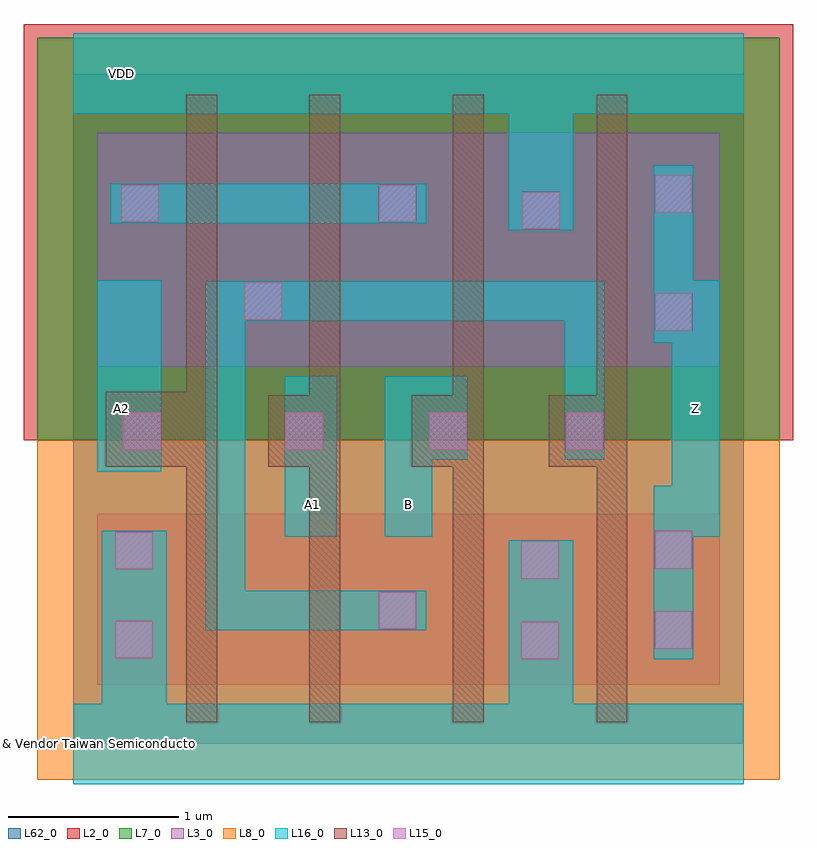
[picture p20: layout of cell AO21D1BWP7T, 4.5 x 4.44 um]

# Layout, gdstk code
import gdstk
lib = gdstk.Library(unit=1e-6, precision=1e-09)
def R(c, l, rs):  # rectangles x0, y0, x1, y1
    for r in rs: c.add(gdstk.rectangle(r[:2], r[2:], *l))
def P(c, l, *ps):  # polygons
    for p in ps: c.add(gdstk.Polygon(p, *l))
L2_0 = (2, 0)
L3_0 = (3, 0)
L7_0 = (7, 0)
L8_0 = (8, 0)
L13_0 = (13, 0)
L15_0 = (15, 0)
L16_0 = (16, 0)
L62_0 = (62, 0)

ao21d1bwp7t = lib.new_cell('AO21D1BWP7T')
R(ao21d1bwp7t, L2_0, [(-0.29,1.775,4.21,4.21)])
R(ao21d1bwp7t, L3_0, [(0.14,0.345,3.78,1.345), (0.14,2.205,3.78,3.575)])
R(ao21d1bwp7t, L7_0, [(-0.21,1.775,4.13,4.13)])
R(ao21d1bwp7t, L8_0, [(-0.21,-0.21,4.13,1.775)])
P(ao21d1bwp7t, L13_0, [(1.38,0.125),(1.38,1.62),(1.14,1.62),(1.14,2.04),(1.38,2.04),(1.38,3.795),(1.56,3.795),(1.56,0.125)],
  [(0.66,0.125),(0.66,1.62),(0.19,1.62),(0.19,2.06),(0.66,2.06),(0.66,3.795),(0.84,3.795),(0.84,0.125)],
  [(3.06,0.125),(3.06,1.62),(2.78,1.62),(2.78,2.04),(3.06,2.04),(3.06,3.795),(3.24,3.795),(3.24,0.125)],
  [(2.22,0.125),(2.22,1.62),(1.98,1.62),(1.98,2.04),(2.22,2.04),(2.22,3.795),(2.4,3.795),(2.4,0.125)])
R(ao21d1bwp7t, L15_0, [(2.62,0.495,2.84,0.715), (0.245,0.5,0.465,0.72), (3.4,0.555,3.62,0.775), (1.785,0.67,2.005,0.89), (2.62,0.965,2.84,1.185), (0.245,1.02,0.465,1.24), (3.4,1.025,3.62,1.245), (0.29,1.72,0.51,1.94), (1.24,1.72,1.46,1.94), (2.08,1.72,2.3,1.94), (2.88,1.72,3.1,1.94), (3.4,2.415,3.62,2.635), (1,2.48,1.22,2.7), (2.625,3.01,2.845,3.23), (0.28,3.05,0.5,3.27), (1.785,3.05,2.005,3.27), (3.4,3.105,3.62,3.325)])
R(ao21d1bwp7t, L16_0, [(1.235,1.21,1.54,2.15), (0.14,1.59,0.515,2.71), (0.22,3.045,2.065,3.275)])
P(ao21d1bwp7t, L16_0, [(0,-0.235),(0,0.235),(0.165,0.235),(0.165,1.245),(0.545,1.245),(0.545,0.235),(2.545,0.235),(2.545,1.19),(2.925,1.19),(2.925,0.235),(3.92,0.235),(3.92,-0.235)],
  [(2.545,3.005),(2.545,3.685),(0,3.685),(0,4.155),(3.92,4.155),(3.92,3.685),(2.925,3.685),(2.925,3.005)],
  [(3.395,0.495),(3.395,1.51),(3.5,1.51),(3.5,2.345),(3.395,2.345),(3.395,3.385),(3.625,3.385),(3.625,2.71),(3.78,2.71),(3.78,1.21),(3.625,1.21),(3.625,0.495)],
  [(0.775,0.665),(0.775,2.705),(3.105,2.705),(3.105,1.66),(2.875,1.66),(2.875,2.475),(1.005,2.475),(1.005,0.895),(2.065,0.895),(2.065,0.665)],
  [(1.82,1.21),(1.82,2.15),(2.305,2.15),(2.305,1.66),(2.1,1.66),(2.1,1.21)])
R(ao21d1bwp7t, L62_0, [(0,0,3.92,3.92)])
ao21d1bwp7t.add(gdstk.Label('& Vendor Taiwan Semiconductor Manufacturing Corp.', (0,0), layer=63, texttype=63))
ao21d1bwp7t.add(gdstk.Label('& Product tcb018gbwp7t', (0,0), layer=63, texttype=63))
ao21d1bwp7t.add(gdstk.Label('& Version 270a', (0,0), layer=63, texttype=63))
ao21d1bwp7t.add(gdstk.Label('& Metric 15.366', (0,0), layer=63, texttype=63))
ao21d1bwp7t.add(gdstk.Label('& Distributor TSMC', (0,0), layer=63, texttype=63))
ao21d1bwp7t.add(gdstk.Label('& SerialNumber 000000', (0,0), layer=63, texttype=63))
ao21d1bwp7t.add(gdstk.Label('& _Instance_tag AO21D1BWP7T', (0,0), layer=63, texttype=63))
ao21d1bwp7t.add(gdstk.Label('& Vendor Taiwan Semiconductor Manufacturing Corp.', (0,0), layer=11, texttype=0))
ao21d1bwp7t.add(gdstk.Label('& Product tcb018gbwp7t', (0,0), layer=11, texttype=0))
ao21d1bwp7t.add(gdstk.Label('& Version 270a', (0,0), layer=11, texttype=0))
ao21d1bwp7t.add(gdstk.Label('& Metric 15.366', (0,0), layer=11, texttype=0))
ao21d1bwp7t.add(gdstk.Label('& Distributor TSMC', (0,0), layer=11, texttype=0))
ao21d1bwp7t.add(gdstk.Label('& SerialNumber 000000', (0,0), layer=11, texttype=0))
ao21d1bwp7t.add(gdstk.Label('& _Instance_tag AO21D1BWP7T', (0,0), layer=11, texttype=0))
ao21d1bwp7t.add(gdstk.Label('AO21D1BWP7T', (0,0), layer=59, texttype=0))
ao21d1bwp7t.add(gdstk.Label('VSS', (0.28,0), layer=40, texttype=0))
ao21d1bwp7t.add(gdstk.Label('VDD', (0.28,3.92), layer=40, texttype=0))
ao21d1bwp7t.add(gdstk.Label('A1', (1.4,1.4), layer=40, texttype=0))
ao21d1bwp7t.add(gdstk.Label('B', (1.96,1.4), layer=40, texttype=0))
ao21d1bwp7t.add(gdstk.Label('Z', (3.64,1.96), layer=40, texttype=0))
ao21d1bwp7t.add(gdstk.Label('A2', (0.28,1.96), layer=40, texttype=0))

lib.write_gds('AO21D1BWP7T.gds')
